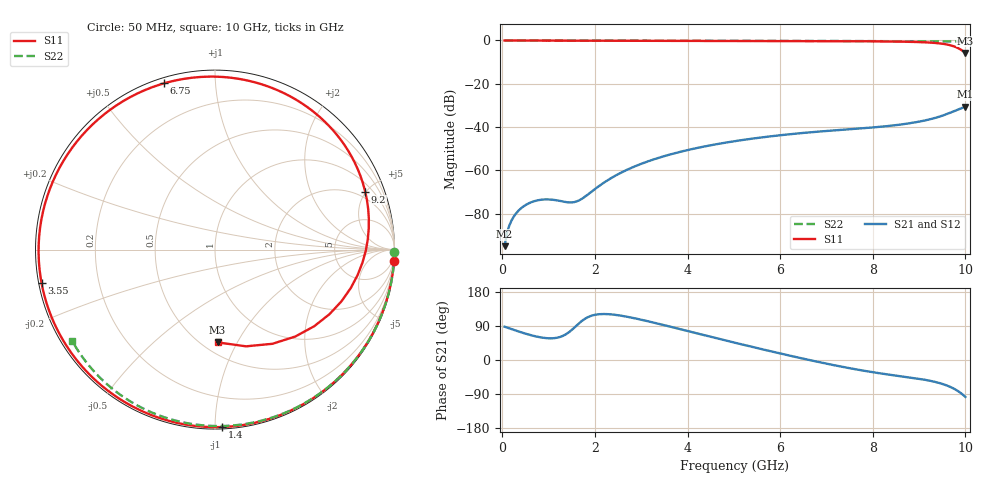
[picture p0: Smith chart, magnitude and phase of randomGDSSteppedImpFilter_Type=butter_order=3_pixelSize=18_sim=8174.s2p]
! freq	dB(S11)	phase(S11)	dB(S12)	phase(S12)
!  dB(S21)	phase(S21)	dB(S22)	phase(S22)
!S-par simulation data
#  GHz  S  DB  R 50
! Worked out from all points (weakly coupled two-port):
!   200 points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, 50 MHz to 10 GHz, reference 50 ohm
!   highest |S21| = -30.64 dB at 10 GHz (marker M1); lowest = -95.0 dB at 50 MHz (marker M2)
!   lowest |S11| = -5.7 dB at 10 GHz (marker M3), VSWR 3.14, Z = 29.6 - j41.7 ohm
!   |S11| at or under -10 dB: nowhere
!   |S22| runs from -0.5 to 0.0 dB; largest |S21 - S12| = 0
!   S11 on the Smith chart (normalised r, x): 50 MHz: 0, -32; 1.4 GHz: 0.01, -1.04; 3.55 GHz: 0.01, -0.10; 6.75 GHz: 0.02, +0.74; 9.2 GHz: 1.49, +4.93; 10 GHz: 0.59, -0.83
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0.05  -0.00 -3.5  -94.99 87.9  -94.99 87.9  -0.00 -0.9
0.3  -0.03 -20.9  -79.80 77.3  -79.80 77.3  -0.01 -5.1
0.5  -0.05 -34.4  -76.04 69.6  -76.04 69.6  -0.01 -8.5
0.75  -0.06 -50.6  -73.89 61.6  -73.89 61.6  -0.02 -12.8
1.05  -0.08 -68.7  -73.48 57.2  -73.48 57.2  -0.02 -17.8
1.4  -0.09 -87.8  -74.70 69.9  -74.70 69.9  -0.03 -23.7
1.75  -0.10 -104.8  -72.68 105.9  -72.68 105.9  -0.04 -29.5
2.55  -0.12 -137.0  -61.22 117.2  -61.22 117.2  -0.05 -42.6
3.4  -0.14 -164.6  -54.04 94.8  -54.04 94.8  -0.07 -56.1
3.55  -0.14 -169.0  -53.09 90.3  -53.09 90.3  -0.08 -58.4
4.25  -0.16 171.7  -49.45 68.9  -49.45 68.9  -0.10 -69.1
5.05  -0.19 150.9  -46.41 44.8  -46.41 44.8  -0.12 -80.9
6.7  -0.27 108.4  -42.32 -1.9  -42.32 -1.9  -0.20 -104.1
6.75  -0.27 107.1  -42.23 -3.2  -42.23 -3.2  -0.20 -104.7
7.6  -0.35 83.0  -40.84 -23.9  -40.84 -23.9  -0.26 -116.1
8.35  -0.47 58.7  -39.47 -38.6  -39.47 -38.6  -0.32 -126.0
8.8  -0.63 41.1  -38.22 -46.2  -38.22 -46.2  -0.36 -131.9
9.2  -0.94 21.1  -36.59 -53.9  -36.59 -53.9  -0.41 -137.1
9.5  -1.51 -0.3  -34.75 -63.0  -34.75 -63.0  -0.44 -141.0
9.7  -2.37 -22.2  -33.14 -72.5  -33.14 -72.5  -0.46 -143.6
9.85  -3.62 -47.3  -31.82 -82.9  -31.82 -82.9  -0.48 -145.6
10  -5.72 -88.4  -30.64 -97.4  -30.64 -97.4  -0.50 -147.5
